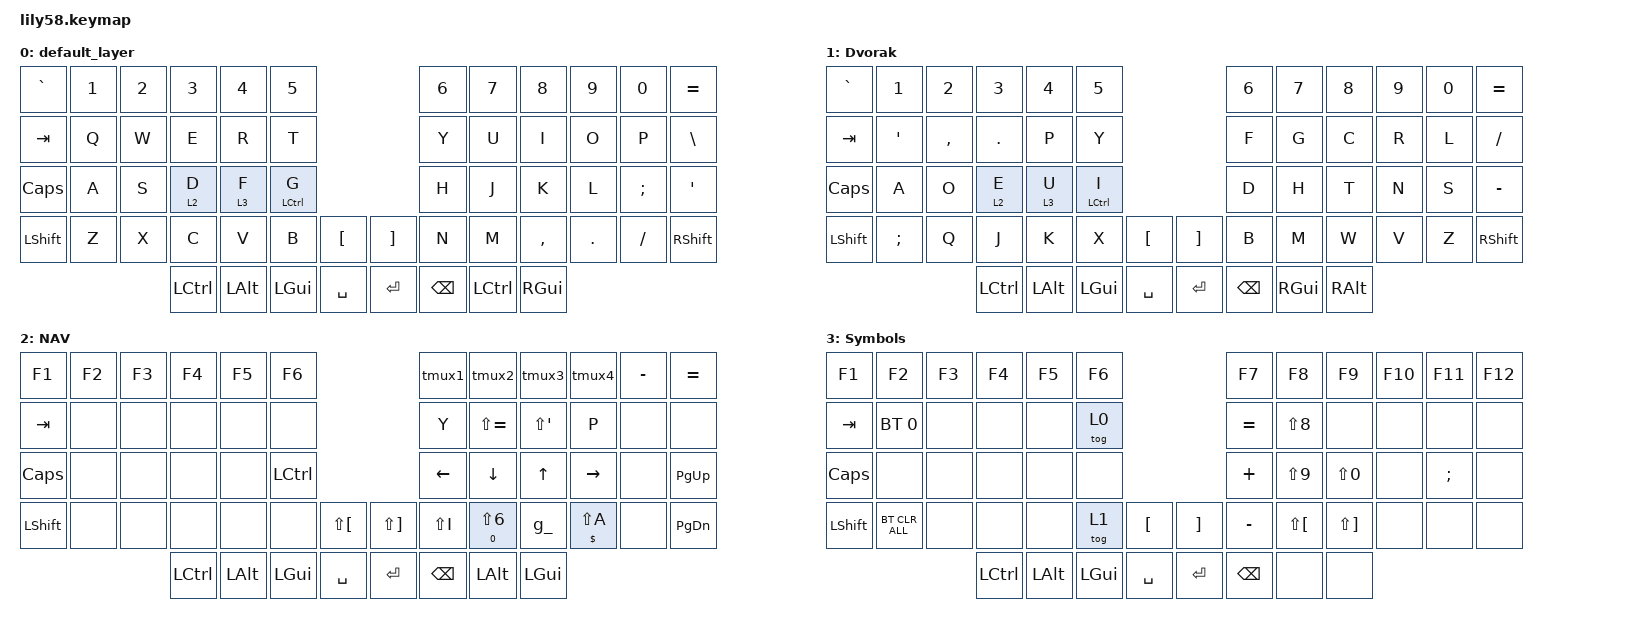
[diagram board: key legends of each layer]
/*
 * Copyright (c) 2020 The ZMK Contributors
 *
 * SPDX-License-Identifier: MIT
 */

#include <behaviors.dtsi>
#include <dt-bindings/zmk/bt.h>
#include <dt-bindings/zmk/keys.h>

&mt {
    tapping-term-ms = <400>;
    flavor = "tap-preferred";
};

/ {
    macros {
        tmux1: new_macro {
            compatible = "zmk,behavior-macro";
            #binding-cells = <0>;
            bindings = <&kp LC(B) &kp NUMBER_1>;
            label = "NEW_MACRO";
        };

        tmux2: tmux2 {
            compatible = "zmk,behavior-macro";
            #binding-cells = <0>;
            bindings = <&kp LC(B) &kp NUMBER_2>;
            label = "TMUX2";
        };

        tmux3: tmux3 {
            compatible = "zmk,behavior-macro";
            #binding-cells = <0>;
            bindings = <&kp LC(B) &kp NUMBER_3>;
            label = "TMUX3";
        };

        tmux4: tmux4 {
            compatible = "zmk,behavior-macro";
            #binding-cells = <0>;
            bindings = <&kp LC(B) &kp NUMBER_4>;
            label = "TMUX4";
        };

        g_: g_ {
            compatible = "zmk,behavior-macro";
            #binding-cells = <0>;
            bindings = <&kp G &kp LS(MINUS)>;
            label = "G_";
        };
    };

    keymap {
        compatible = "zmk,keymap";

        default_layer {
            // ------------------------------------------------------------------------------------------------------------
            // |  ESC  |  1  |  2  |  3   |  4   |  5   |                   |  6   |  7    |  8    |  9   |   0   |   `   |
            // |  TAB  |  Q  |  W  |  E   |  R   |  T   |                   |  Y   |  U    |  I    |  O   |   P   |   -   |
            // |  CTRL |  A  |  S  |  D   |  F   |  G   |                   |  H   |  J    |  K    |  L   |   ;   |   '   |
            // | SHIFT |  Z  |  X  |  C   |  V   |  B   |   "["  |  |  "]"  |  N   |  M    |  ,    |  .   |   /   | SHIFT |
            //                     | ALT  | GUI  | LOWER|  SPACE |  | ENTER | RAISE| BSPC  | GUI   |

            bindings = <
&kp GRAVE  &kp N1  &kp N2  &kp N3            &kp N4        &kp N5                                     &kp N6    &kp N7            &kp N8     &kp N9   &kp N0    &kp EQUAL
&kp TAB    &kp Q   &kp W   &kp E             &kp R         &kp T                                      &kp Y     &kp U             &kp I      &kp O    &kp P     &kp BACKSLASH
&kp CAPS   &kp A   &kp S   &lt 2 D           &lt 3 F       &mt LEFT_CONTROL G                         &kp H     &kp J             &kp K      &kp L    &kp SEMI  &kp SQT
&kp LSHFT  &kp Z   &kp X   &kp C             &kp V         &kp B               &kp LBKT     &kp RBKT  &kp N     &kp M             &kp COMMA  &kp DOT  &kp FSLH  &kp RSHFT
                           &kp LEFT_CONTROL  &kp LEFT_ALT  &kp LEFT_GUI        &kp SPACE    &kp RET   &kp BSPC  &kp LEFT_CONTROL  &kp RGUI
            >;
        };

        Dvorak {
            bindings = <
&kp GRAVE  &kp N1    &kp N2     &kp N3     &kp N4    &kp N5                                      &kp N6    &kp N7    &kp N8    &kp N9  &kp N0  &kp EQUAL
&kp TAB    &kp APOS  &kp COMMA  &kp DOT    &kp P     &kp Y                                       &kp F     &kp G     &kp C     &kp R   &kp L   &kp FSLH
&kp CAPS   &kp A     &kp O      &lt 2 E    &lt 3 U   &mt LEFT_CONTROL I                          &kp D     &kp H     &kp T     &kp N   &kp S   &kp MINUS
&kp LSHFT  &kp SEMI  &kp Q      &kp J      &kp K     &kp X               &kp LBKT     &kp RBKT   &kp B     &kp M     &kp W     &kp V   &kp Z   &kp RSHFT
                                &kp LCTRL  &kp LALT  &kp LGUI            &kp SPACE    &kp ENTER  &kp BSPC  &kp RGUI  &kp RALT
            >;
        };

        NAV {
            // ------------------------------------------------------------------------------------------------------------
            // | BTCLR | BT1 | BT2 |  BT3 |  BT4 |  BT5 |                   |      |       |       |      |       |       |
            // |  F1   |  F2 |  F3 |  F4  |  F5  |  F6  |                   |  F7  |  F8   |  F9   |  F10 |  F11  |  F12  |
            // |   `   |  !  |  @  |  #   |  $   |  %   |                   |  ^   |  &    |  *    |  (   |   )   |   ~   |
            // |       |     |     |      |      |      |        |  |       |      |  _    |  +    |  {   |   }   |  "|"  |
            //                     |      |      |      |        |  |       |      |       |       |

            bindings = <
&kp F1          &kp F2  &kp F3  &kp F4     &kp F5    &kp F6                                                           &tmux1     &tmux2               &tmux3        &tmux4            &kp MINUS  &kp EQUAL
&kp TAB         &none   &none   &none      &none     &none                                                            &kp Y      &kp LS(EQUAL)        &kp LS(APOS)  &kp P             &none      &none
&kp CAPS        &none   &none   &none      &none     &kp LEFT_CONTROL                                                 &kp LEFT   &kp DOWN             &kp UP        &kp RIGHT         &none      &kp PAGE_UP
&kp LEFT_SHIFT  &none   &none   &none      &none     &none             &kp LS(LEFT_BRACKET)    &kp LS(RIGHT_BRACKET)  &kp LS(I)  &mt N0 LS(NUMBER_6)  &g_           &mt DOLLAR LS(A)  &none      &kp PAGE_DOWN
                                &kp LCTRL  &kp LALT  &kp LEFT_GUI      &kp SPACE               &kp RET                &kp BSPC   &kp LEFT_ALT         &kp LEFT_GUI
            >;
        };

        Symbols {
            bindings = <
&kp F1     &kp F2          &kp F3  &kp F4     &kp F5    &kp F6                            &kp F7     &kp F8                &kp F9                 &kp F10  &kp F11   &kp F12
&kp TAB    &bt BT_SEL 0    &none   &none      &none     &tog 0                            &kp EQUAL  &kp LS(N8)            &none                  &none    &none     &none
&kp CAPS   &none           &none   &none      &none     &none                             &kp PLUS   &kp LS(N9)            &kp LS(N0)             &none    &kp SEMI  &none
&kp LSHFT  &bt BT_CLR_ALL  &none   &none      &none     &tog 1    &kp LBKT     &kp RBKT   &kp MINUS  &kp LS(LEFT_BRACKET)  &kp LS(RIGHT_BRACKET)  &none    &none     &none
                                   &kp LCTRL  &kp LALT  &kp LGUI  &kp SPACE    &kp ENTER  &kp BSPC   &none                 &none
            >;
        };
    };
};
